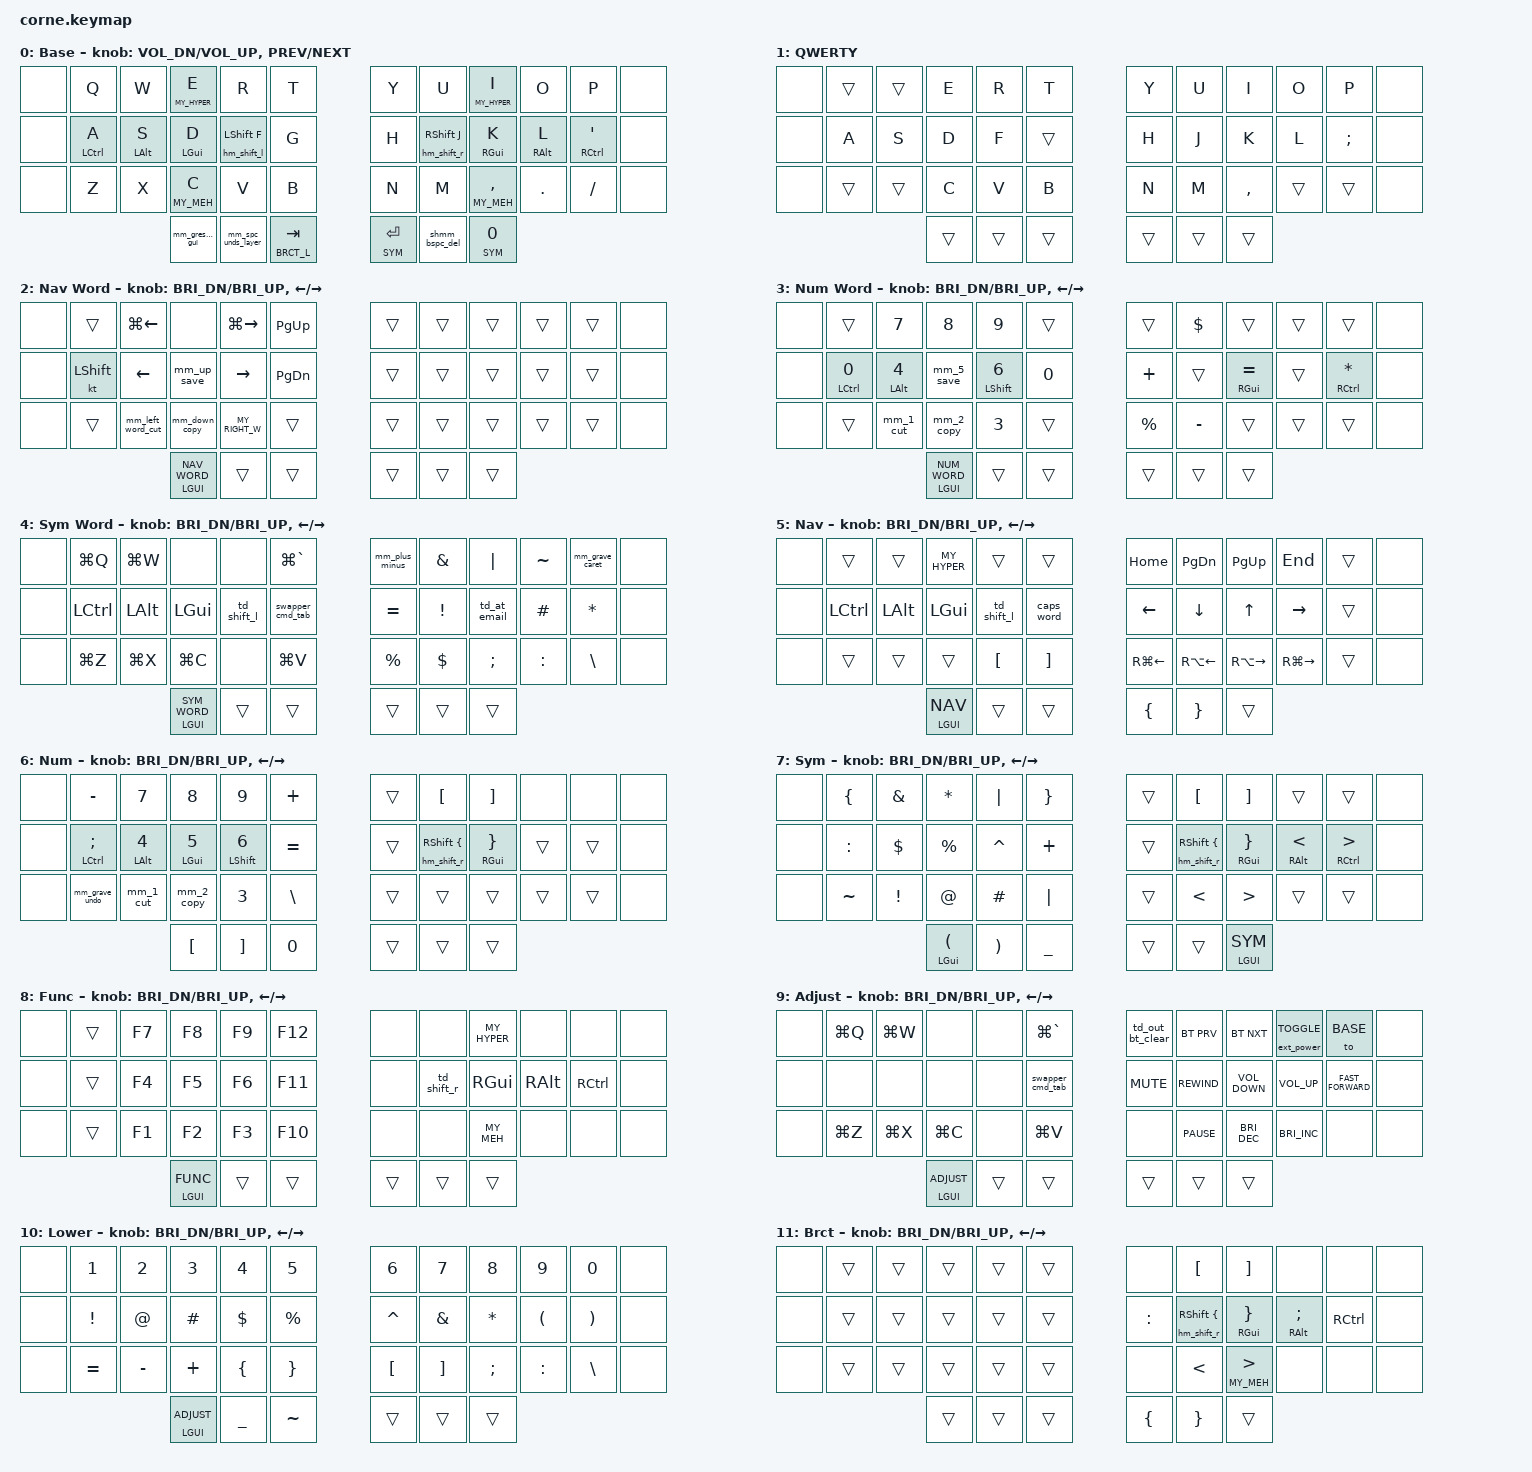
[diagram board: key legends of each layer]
/*
 * Copyright (c) 2020 The ZMK Contributors
 *
 * SPDX-License-Identifier: MIT
 */

// Define layer numbers
#define BASE 0
#define BASE_QWERTY 1
#define NAV_WORD 2
#define NUM_WORD 3
#define SYM_WORD 4
#define NAV 5
#define NUM 6
#define SYM 7
#define FUNC 8
#define ADJUST 9
#define LOWER 10
#define BRCT_L 11

// ZMK includes
#include <behaviors.dtsi>
#include <dt-bindings/zmk/keys.h>
#include <dt-bindings/zmk/bt.h>
#include <dt-bindings/zmk/rgb.h>
#include <dt-bindings/zmk/ext_power.h>

// Personal includes
#include "includes/custom_keycodes.dtsi"
#include "includes/settings.dtsi"
//#include "includes/settings_pd.dtsi"
#include "includes/conditional_layers.dtsi"
#include "includes/macros.dtsi"
#include "includes/combos_42keys.dtsi"
#include "includes/behaviours_homerow_mods_42keys.dtsi"
#include "includes/behaviours_mod_morph.dtsi"
#include "includes/behaviours_other.dtsi"
#include "includes/shmm.dtsi"


/ {

  keymap {
    compatible = "zmk,keymap";

    Base_layer {
      label = "Base";
      bindings = <
// ╭─────────────────────────┬────────────────────────┬────────────────────────┬────────────────────────┬────────────────────────┬────────────────────────╮    ╭────────────────────────┬────────────────────────┬────────────────────────┬───────────────────────┬─────────────────────────┬──────────────────╮
     &none                     &kp Q                    &kp W                    &hm_l MY_HYPER E         &kp R                    &kp T                         &kp Y                    &kp U                    &hm_r MY_HYPER I         &kp O                    &kp P                    &none
// ├─────────────────────────┼────────────────────────┼────────────────────────┼────────────────────────┼────────────────────────┼────────────────────────┤    ├────────────────────────┼────────────────────────┼────────────────────────┼───────────────────────┼─────────────────────────┼──────────────────┤
     &none                     &hm_l LCTRL A            &hm_l LALT S             &hm_l LGUI D             &hm_shift_l LSHFT F      &kp G                         &kp H                    &hm_shift_r RSHFT J      &hm_r RGUI K             &hm_r RALT L             &hm_r RCTRL SINGLE_QUOTE            &none
// ├─────────────────────────┼────────────────────────┼────────────────────────┼────────────────────────┼────────────────────────┼────────────────────────┤    ├────────────────────────┼────────────────────────┼────────────────────────┼───────────────────────┼─────────────────────────┼──────────────────┤
     &none                     &kp Z                    &kp X                    &hm_l MY_MEH C           &kp V                    &kp B                         &kp N                    &kp M                    &hm_r MY_MEH COMMA       &kp DOT                 &kp SLASH                &none
// ╰─────────────────────────┴────────────────────────┴────────────────────────┴────────────────────────┼────────────────────────┼────────────────────────┤    ├────────────────────────┼────────────────────────┼────────────────────────┼───────────────────────┼─────────────────────────┼──────────────────╯
                                                                                 &mm_grescm_gui           &mm_spc_unds_layer       &lt BRCT_L TAB                &lt SYM RETURN           &shmm_bspc_del             &lt SYM NUMBER_0
//                                                                             ╰────────────────────────┴────────────────────────┴────────────────────────╯    ╰────────────────────────┴────────────────────────┴────────────────────────╯

      >;
      sensor-bindings = <&inc_dec_kp C_VOL_DN C_VOL_UP &inc_dec_kp C_PREV C_NEXT>;
    };

    Base_Qwerty_layer {
      label = "QWERTY";
      bindings = <
// ╭────────────────────────┬────────────────────────┬────────────────────────┬────────────────────────┬────────────────────────┬────────────────────────╮    ╭────────────────────────┬────────────────────────┬────────────────────────┬────────────────────────┬────────────────────────┬──────────────────╮
     &none                    &trans                   &trans                   &kp E                    &kp R                    &kp T                         &kp Y                    &kp U                    &kp I                    &kp O                    &kp P                    &none
// ├────────────────────────┼────────────────────────┼────────────────────────┼────────────────────────┼────────────────────────┼────────────────────────┤    ├────────────────────────┼────────────────────────┼────────────────────────┼────────────────────────┼────────────────────────┼──────────────────┤
     &none                    &kp A                    &kp S                    &kp D                    &kp F                    &trans                        &kp H                    &kp J                    &kp K                    &kp L                    &kp SEMICOLON            &none
// ├────────────────────────┼────────────────────────┼────────────────────────┼────────────────────────┼────────────────────────┼────────────────────────┤    ├────────────────────────┼────────────────────────┼────────────────────────┼────────────────────────┼────────────────────────┼──────────────────┤
     &none                    &trans                   &trans                   &kp C                    &kp V                    &kp B                         &kp N                    &kp M                    &kp COMMA                &trans                   &trans                   &none
// ╰────────────────────────┴────────────────────────┴────────────────────────┴────────────────────────┼────────────────────────┼────────────────────────┤    ├────────────────────────┼────────────────────────┼────────────────────────┼────────────────────────┴────────────────────────┼──────────────────╯
                                                                                &trans                   &trans                   &trans                        &trans                   &trans                   &trans
//                                                                            ╰────────────────────────┴────────────────────────┴────────────────────────╯    ╰────────────────────────┴────────────────────────┴────────────────────────╯
      >;
    };

    Nav_Word_layer {
      label = "Nav Word";
      bindings = <
// ╭────────────────────────┬────────────────────────┬────────────────────────┬────────────────────────┬────────────────────────┬────────────────────────╮    ╭────────────────────────┬────────────────────────┬────────────────────────┬────────────────────────┬────────────────────────┬──────────────────╮
     &none                    &trans                   &kp LG(LEFT)             &none                    &kp LG(RIGHT)            &kp PG_UP                     &trans                   &trans                   &trans                   &trans                   &trans                   &none
// ├────────────────────────┼────────────────────────┼────────────────────────┼────────────────────────┼────────────────────────┼────────────────────────┤    ├────────────────────────┼────────────────────────┼────────────────────────┼────────────────────────┼────────────────────────┼──────────────────┤
     &none                    &kt LSHFT                &kp LEFT                 &mm_up_save              &kp RIGHT                &kp PG_DN                     &trans                   &trans                   &trans                   &trans                   &trans                   &none
// ├────────────────────────┼────────────────────────┼────────────────────────┼────────────────────────┼────────────────────────┼────────────────────────┤    ├────────────────────────┼────────────────────────┼────────────────────────┼────────────────────────┼────────────────────────┼──────────────────┤
     &none                    &trans                   &mm_left_word_cut        &mm_down_copy            &kp MY_RIGHT_W           &trans                        &trans                   &trans                   &trans                   &trans                   &trans                   &none
// ╰────────────────────────┴────────────────────────┴────────────────────────┴────────────────────────┼────────────────────────┼────────────────────────┤    ├────────────────────────┼────────────────────────┼────────────────────────┼────────────────────────┴────────────────────────┼──────────────────╯
                                                                                &ltog LGUI NAV_WORD      &trans                   &trans                        &trans                   &trans                   &trans
//                                                                            ╰────────────────────────┴────────────────────────┴────────────────────────╯    ╰────────────────────────┴────────────────────────┴────────────────────────╯
      >;
      sensor-bindings = <&inc_dec_kp C_BRI_DN C_BRI_UP &inc_dec_kp LEFT RIGHT>;
    };

    Num_Word_layer {
      label = "Num Word";
      bindings = <
// ╭────────────────────────┬────────────────────────┬────────────────────────┬────────────────────────┬────────────────────────┬────────────────────────╮    ╭────────────────────────┬────────────────────────┬────────────────────────┬────────────────────────┬────────────────────────┬──────────────────╮
     &none                    &trans                   &kp NUMBER_7             &kp NUMBER_8             &kp NUMBER_9             &trans                        &trans                   &kp DOLLAR               &trans                   &trans                   &trans                   &none
// ├────────────────────────┼────────────────────────┼────────────────────────┼────────────────────────┼────────────────────────┼────────────────────────┤    ├────────────────────────┼────────────────────────┼────────────────────────┼────────────────────────┼────────────────────────┼──────────────────┤
     &none                    &hm_l LCTRL NUMBER_0     &hm_l LALT NUMBER_4      &mm_5_save               &hm_l LSHFT NUMBER_6     &kp NUMBER_0                  &kp PLUS                 &trans                   &hm_r RGUI EQUAL         &trans                   &hm_r RCTRL ASTERISK     &none
// ├────────────────────────┼────────────────────────┼────────────────────────┼────────────────────────┼────────────────────────┼────────────────────────┤    ├────────────────────────┼────────────────────────┼────────────────────────┼────────────────────────┼────────────────────────┼──────────────────┤
     &none                    &trans                   &mm_1_cut                &mm_2_copy               &kp NUMBER_3             &trans                        &kp PERCENT              &kp MINUS                &trans                   &trans                   &trans                   &none
// ╰────────────────────────┴────────────────────────┴────────────────────────┴────────────────────────┼────────────────────────┼────────────────────────┤    ├────────────────────────┼────────────────────────┼────────────────────────┼────────────────────────┴────────────────────────┼──────────────────╯
                                                                                &ltog LGUI NUM_WORD      &trans                   &trans                        &trans                   &trans                   &trans
//                                                                            ╰────────────────────────┴────────────────────────┴────────────────────────╯    ╰────────────────────────┴────────────────────────┴────────────────────────╯
      >;
      sensor-bindings = <&inc_dec_kp C_BRI_DN C_BRI_UP &inc_dec_kp LEFT RIGHT>;
    };

    Sym_Word_layer {
      label = "Sym Word";
      bindings = <
// ╭────────────────────────┬────────────────────────┬────────────────────────┬────────────────────────┬────────────────────────┬────────────────────────╮    ╭────────────────────────┬────────────────────────┬────────────────────────┬────────────────────────┬────────────────────────┬──────────────────╮
     &none                    &kp LG(Q)                &kp LG(W)                &none                    &none                    &kp LG(GRAVE)                 &mm_plus_minus           &kp AMPERSAND            &kp PIPE                 &kp TILDE                &mm_grave_caret          &none
// ├────────────────────────┼────────────────────────┼────────────────────────┼────────────────────────┼────────────────────────┼────────────────────────┤    ├────────────────────────┼────────────────────────┼────────────────────────┼────────────────────────┼────────────────────────┼──────────────────┤
     &none                    &kp LEFT_CONTROL         &kp LEFT_ALT             &kp LEFT_GUI             &td_shift_l              &swapper_cmd_tab              &kp EQUAL                &kp EXCLAMATION          &td_at_email             &kp HASH                 &kp ASTERISK             &none
// ├────────────────────────┼────────────────────────┼────────────────────────┼────────────────────────┼────────────────────────┼────────────────────────┤    ├────────────────────────┼────────────────────────┼────────────────────────┼────────────────────────┼────────────────────────┼──────────────────┤
     &none                    &kp LG(Z)                &kp LG(X)                &kp LG(C)                &none                    &kp LG(V)                     &kp PERCENT              &kp DOLLAR               &kp SEMICOLON            &kp COLON                &kp BACKSLASH            &none
// ╰────────────────────────┴────────────────────────┴────────────────────────┴────────────────────────┼────────────────────────┼────────────────────────┤    ├────────────────────────┼────────────────────────┼────────────────────────┼────────────────────────┴────────────────────────┼──────────────────╯
                                                                                &ltog LGUI SYM_WORD      &trans                   &trans                        &trans                   &trans                   &trans
//                                                                            ╰────────────────────────┴────────────────────────┴────────────────────────╯    ╰────────────────────────┴────────────────────────┴────────────────────────╯
      >;
      sensor-bindings = <&inc_dec_kp C_BRI_DN C_BRI_UP &inc_dec_kp LEFT RIGHT>;
    };

    Nav_layer {
      label = "Nav";
      bindings = <
// ╭────────────────────────┬────────────────────────┬────────────────────────┬────────────────────────┬────────────────────────┬────────────────────────╮    ╭────────────────────────┬────────────────────────┬────────────────────────┬────────────────────────┬────────────────────────┬──────────────────╮
     &none                    &trans                   &trans                    &kp MY_HYPER             &trans                  &trans                        &kp HOME                 &kp PG_DN                 &kp PG_UP                   &kp END                   &trans                &none
// ├────────────────────────┼────────────────────────┼────────────────────────┼────────────────────────┼────────────────────────┼────────────────────────┤    ├────────────────────────┼────────────────────────┼────────────────────────┼────────────────────────┼────────────────────────┼──────────────────┤
     &none                     &kp LEFT_CONTROL              &kp LEFT_ALT             &kp LEFT_GUI             &td_shift_l        &caps_word                    &kp LEFT                 &kp DOWN                 &kp UP                   &kp RIGHT                &trans                    &none
// ├────────────────────────┼────────────────────────┼────────────────────────┼────────────────────────┼────────────────────────┼────────────────────────┤    ├────────────────────────┼────────────────────────┼────────────────────────┼────────────────────────┼────────────────────────┼──────────────────┤
     &none                    &trans                   &trans                   &trans                   &kp LBKT                   &kp RBKT                        &kp RG(LEFT)                 &kp RA(LEFT)         &kp RA(RIGHT)            &kp RG(RIGHT)            &trans                   &none
// ╰────────────────────────┴────────────────────────┴────────────────────────┼────────────────────────┼────────────────────────┼────────────────────────┤    ├────────────────────────┼────────────────────────┼────────────────────────┼────────────────────────┴────────────────────────┼──────────────────╯
                                                                                &ltog LGUI NAV           &trans                   &trans                          &kp LBRC                   &kp RBRC                   &trans
//                                                                            ╰────────────────────────┴────────────────────────┴────────────────────────╯    ╰────────────────────────┴────────────────────────┴────────────────────────╯
      >;
      sensor-bindings = <&inc_dec_kp C_BRI_DN C_BRI_UP &inc_dec_kp LEFT RIGHT>;
    };

    Num_layer {
      label = "Num";
      bindings = <
// ╭────────────────────────┬────────────────────────┬────────────────────────┬────────────────────────┬────────────────────────┬────────────────────────╮    ╭────────────────────────┬────────────────────────┬────────────────────────┬────────────────────────┬────────────────────────┬──────────────────╮
     &none                    &kp MINUS                    &kp NUMBER_7             &kp NUMBER_8             &kp NUMBER_9             &kp PLUS                         &trans                    &kp LBKT               &kp RBKT             &none                    &none                    &none
// ├────────────────────────┼────────────────────────┼────────────────────────┼────────────────────────┼────────────────────────┼────────────────────────┤    ├────────────────────────┼────────────────────────┼────────────────────────┼────────────────────────┼────────────────────────┼──────────────────┤
     &none                    &hm_l LCTRL SEMI          &hm_l LALT NUMBER_4      &hm_l LEFT_GUI NUMBER_5   &hm_l LSHFT NUMBER_6     &kp EQUAL                     &trans                 &hm_shift_r RSHIFT LBRC   &hm_r RIGHT_GUI RBRC     &trans                  &trans                    &none
// ├────────────────────────┼────────────────────────┼────────────────────────┼────────────────────────┼────────────────────────┼────────────────────────┤    ├────────────────────────┼────────────────────────┼────────────────────────┼────────────────────────┼────────────────────────┼──────────────────┤
     &none                    &mm_grave_undo            &mm_1_cut                &mm_2_copy               &kp NUMBER_3             &kp BACKSLASH                     &trans              &trans                &trans                      &trans              &trans               &none
// ╰────────────────────────┴────────────────────────┴────────────────────────┴────────────────────────┼────────────────────────┼────────────────────────┤    ├────────────────────────┼────────────────────────┼────────────────────────┼────────────────────────┴────────────────────────┼──────────────────╯
                                                                                &kp LBKT           &kp RBKT                &kp NUMBER_0                        &trans                   &trans                   &trans
//                                                                            ╰────────────────────────┴────────────────────────┴────────────────────────╯    ╰────────────────────────┴────────────────────────┴────────────────────────╯
      >;
      sensor-bindings = <&inc_dec_kp C_BRI_DN C_BRI_UP &inc_dec_kp LEFT RIGHT>;
    };

    Sym_layer {
      label = "Sym";
      bindings = <
//   ╭────────────────────┬────────────────────────────┬────────────────────────┬────────────────────────┬────────────────────────┬────────────────────────╮ ╭────────────────────────┬────────────────────────┬────────────────────────┬────────────────────────┬──────────────────────── ┬──────────────────╮
       &none                    &kp LBRC                &kp AMPERSAND               &kp ASTERISK            &kp PIPE                &kp RBRC                   &trans                   &kp LBKT                   &kp RBKT                   &trans                   &trans                   &none
//   ├────────────────────┼────────────────────────────┼────────────────────────┼────────────────────────┼────────────────────────┼────────────────────────┤ ├────────────────────────┼────────────────────────┼────────────────────────┼────────────────────────┼──────────────────────── ┼──────────────────┤
       &none                    &kp COLON                 &kp DOLLAR          &kp PERCENT                &kp CARET                 &kp PLUS                    &trans                   &hm_shift_r RSHIFT LBRC  &hm_r RIGHT_GUI RBRC     &hm_r RIGHT_ALT LT       &hm_r RCTRL GT          &none
//   ├────────────────────┼────────────────────────────┼────────────────────────┼────────────────────────┼────────────────────────┼────────────────────────┤ ├────────────────────────┼────────────────────────┼────────────────────────┼────────────────────────┼──────────────────────── ┼──────────────────┤
       &none                    &kp TILDE               &kp EXCLAMATION            &kp AT                 &kp HASH                  &kp PIPE                   &trans                   &kp LT                   &kp GT                   &trans                   &trans                    &none
//   ╰────────────────────┴────────────────────────────┼────────────────────────┼────────────────────────┼────────────────────────┴────────────────────────┤ ├────────────────────────┴────────────────────────┴────────────────────────┼────────────────────────┼──────────────────────── ┼──────────────────╯
                                                                                    &mt LGUI  LEFT_PARENTHESIS    &kp RIGHT_PARENTHESIS   &kp UNDERSCORE             &trans                  &trans                   &ltog LGUI SYM
//                                                                              ╰────────────────────────┴────────────────────────┴────────────────────────╯ ╰────────────────────────┴────────────────────────┴────────────────────────╯
      >;
      sensor-bindings = <&inc_dec_kp C_BRI_DN C_BRI_UP &inc_dec_kp LEFT RIGHT>;
    };

    Func_layer {
      label = "Func";
      bindings = <
// ╭────────────────────────┬────────────────────────┬────────────────────────┬────────────────────────┬────────────────────────┬────────────────────────╮    ╭────────────────────────┬────────────────────────┬────────────────────────┬────────────────────────┬────────────────────────┬──────────────────╮
     &none                    &trans                   &kp F7                   &kp F8                   &kp F9                   &kp F12                       &none                    &none                    &kp MY_HYPER             &none                    &none                    &none
// ├────────────────────────┼────────────────────────┼────────────────────────┼────────────────────────┼────────────────────────┼────────────────────────┤    ├────────────────────────┼────────────────────────┼────────────────────────┼────────────────────────┼────────────────────────┼──────────────────┤
     &none                    &trans                   &kp F4                   &kp F5                   &kp F6                   &kp F11                       &none                    &td_shift_r              &kp RIGHT_GUI            &kp RIGHT_ALT            &kp RIGHT_CONTROL        &none
// ├────────────────────────┼────────────────────────┼────────────────────────┼────────────────────────┼────────────────────────┼────────────────────────┤    ├────────────────────────┼────────────────────────┼────────────────────────┼────────────────────────┼────────────────────────┼──────────────────┤
     &none                    &trans                   &kp F1                   &kp F2                   &kp F3                   &kp F10                       &none                    &none                    &kp MY_MEH               &none                    &none                    &none
// ╰────────────────────────┴────────────────────────┴────────────────────────┴────────────────────────┼────────────────────────┼────────────────────────┤    ├────────────────────────┼────────────────────────┼────────────────────────┼────────────────────────┴────────────────────────┼──────────────────╯
                                                                               &ltog LGUI FUNC          &trans                   &trans                        &trans                   &trans                   &trans
//                                                                            ╰────────────────────────┴────────────────────────┴────────────────────────╯    ╰────────────────────────┴────────────────────────┴────────────────────────╯
      >;
      sensor-bindings = <&inc_dec_kp C_BRI_DN C_BRI_UP &inc_dec_kp LEFT RIGHT>;
    };

    Adjust_layer {
      label = "Adjust";
      bindings = <
// ╭────────────────────────┬────────────────────────┬────────────────────────┬────────────────────────┬────────────────────────┬────────────────────────╮    ╭────────────────────────┬────────────────────────┬────────────────────────┬────────────────────────┬────────────────────────┬──────────────────╮
     &none                    &kp LG(Q)                &kp LG(W)                &none                    &none                    &kp LG(GRAVE)                 &td_out_bt_clear         &bt BT_PRV               &bt BT_NXT               &ext_power EXT_POWER_TOGGLE_CMD &to BASE          &none
// ├────────────────────────┼────────────────────────┼────────────────────────┼────────────────────────┼────────────────────────┼────────────────────────┤    ├────────────────────────┼────────────────────────┼────────────────────────┼────────────────────────┼────────────────────────┼──────────────────┤
     &none                    &none                    &none                    &none                    &none                    &swapper_cmd_tab              &kp C_MUTE               &kp C_REWIND             &kp C_VOLUME_DOWN        &kp C_VOLUME_UP          &kp C_FAST_FORWARD       &none
// ├────────────────────────┼────────────────────────┼────────────────────────┼────────────────────────┼────────────────────────┼────────────────────────┤    ├────────────────────────┼────────────────────────┼────────────────────────┼────────────────────────┼────────────────────────┼──────────────────┤
     &none                    &kp LG(Z)                &kp LG(X)                &kp LG(C)                &none                    &kp LG(V)                     &none                    &kp C_PAUSE              &kp C_BRIGHTNESS_DEC     &kp C_BRIGHTNESS_INC     &none                    &none
// ╰────────────────────────┴────────────────────────┴────────────────────────┴────────────────────────┼────────────────────────┼────────────────────────┤    ├────────────────────────┼────────────────────────┼────────────────────────┼────────────────────────┴────────────────────────┼──────────────────╯
                                                                                &ltog LGUI ADJUST        &trans                   &trans                        &trans                   &trans                   &trans
//                                                                            ╰────────────────────────┴────────────────────────┴────────────────────────╯    ╰────────────────────────┴────────────────────────┴────────────────────────╯
      >;
      sensor-bindings = <&inc_dec_kp C_BRI_DN C_BRI_UP &inc_dec_kp LEFT RIGHT>;
    };

    Lower_layer {
      label = "Lower";
      bindings = <
// ╭────────────────────────┬────────────────────────┬────────────────────────┬────────────────────────┬────────────────────────┬────────────────────────╮    ╭────────────────────────┬────────────────────────┬────────────────────────┬────────────────────────┬────────────────────────┬──────────────────╮
     &none                    &kp NUMBER_1             &kp NUMBER_2             &kp NUMBER_3             &kp NUMBER_4             &kp NUMBER_5                  &kp NUMBER_6             &kp NUMBER_7             &kp NUMBER_8             &kp NUMBER_9             &kp NUMBER_0             &none
// ├────────────────────────┼────────────────────────┼────────────────────────┼────────────────────────┼────────────────────────┼────────────────────────┤    ├────────────────────────┼────────────────────────┼────────────────────────┼────────────────────────┼────────────────────────┼──────────────────┤
     &none                    &kp EXCLAMATION          &kp AT_SIGN              &kp HASH                 &kp DOLLAR               &kp PERCENT                   &kp CARET                &kp AMPERSAND            &kp ASTERISK             &kp LEFT_PARENTHESIS     &kp RIGHT_PARENTHESIS    &none
// ├────────────────────────┼────────────────────────┼────────────────────────┼────────────────────────┼────────────────────────┼────────────────────────┤    ├────────────────────────┼────────────────────────┼────────────────────────┼────────────────────────┼────────────────────────┼──────────────────┤
     &none                    &kp EQUAL                &kp MINUS                &kp PLUS                 &kp LEFT_BRACE           &kp RIGHT_BRACE               &kp LEFT_BRACKET         &kp RIGHT_BRACKET        &kp SEMICOLON            &kp COLON                &kp BACKSLASH            &none
// ╰────────────────────────┴────────────────────────┴────────────────────────┴────────────────────────┼────────────────────────┼────────────────────────┤    ├────────────────────────┼────────────────────────┼────────────────────────┼────────────────────────┴────────────────────────┼──────────────────╯
                                                                                &ltog LGUI ADJUST        &kp UNDERSCORE           &kp TILDE                     &trans                    &trans                  &trans
//                                                                            ╰────────────────────────┴────────────────────────┴────────────────────────╯    ╰────────────────────────┴────────────────────────┴────────────────────────╯
      >;
      sensor-bindings = <&inc_dec_kp C_BRI_DN C_BRI_UP &inc_dec_kp LEFT RIGHT>;
    };

    Brct_layer {
      label = "Brct";
      bindings = <
// ╭────────────────────────┬────────────────────────┬────────────────────────┬────────────────────────┬────────────────────────┬────────────────────────╮    ╭────────────────────────┬────────────────────────┬────────────────────────┬────────────────────────┬────────────────────────┬──────────────────╮
     &none                    &trans                   &trans                   &trans                   &trans                   &trans                       &none                    &kp LBKT                    &kp RBKT             &none                    &none                    &none
// ├────────────────────────┼────────────────────────┼────────────────────────┼────────────────────────┼────────────────────────┼────────────────────────┤    ├────────────────────────┼────────────────────────┼────────────────────────┼────────────────────────┼────────────────────────┼──────────────────┤
     &none                    &trans                   &trans                   &trans                   &trans                   &trans                       &kp COLON                 &hm_shift_r RSHIFT LBRC     &hm_r RIGHT_GUI RBRC    &hm_r RIGHT_ALT SEMI            &kp RIGHT_CONTROL        &none
// ├────────────────────────┼────────────────────────┼────────────────────────┼────────────────────────┼────────────────────────┼────────────────────────┤    ├────────────────────────┼────────────────────────┼────────────────────────┼────────────────────────┼────────────────────────┼──────────────────┤
     &none                    &trans                   &trans                   &trans                   &trans                   &trans                       &none                    &kp LT                    &hm_r MY_MEH GT         &none                    &none                    &none
// ╰────────────────────────┴────────────────────────┴────────────────────────┴────────────────────────┼────────────────────────┼────────────────────────┤    ├────────────────────────┼────────────────────────┼────────────────────────┼────────────────────────┴────────────────────────┼──────────────────╯
                                                                                &trans                   &trans                   &trans                        &kp LBRC                   &kp RBRC                   &trans
//                                                                            ╰────────────────────────┴────────────────────────┴────────────────────────╯    ╰────────────────────────┴────────────────────────┴────────────────────────╯
      >;
      sensor-bindings = <&inc_dec_kp C_BRI_DN C_BRI_UP &inc_dec_kp LEFT RIGHT>;
    };
  };

};
